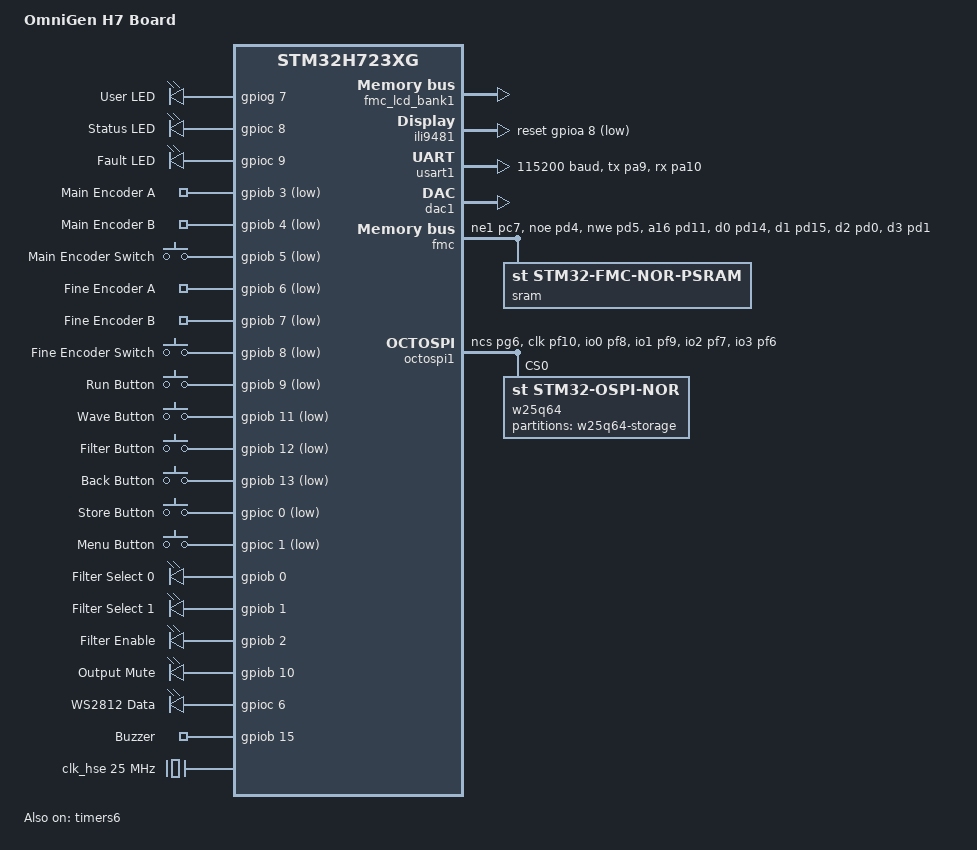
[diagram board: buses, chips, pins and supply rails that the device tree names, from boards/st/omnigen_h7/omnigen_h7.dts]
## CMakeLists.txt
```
cmake_minimum_required(VERSION 3.20.0)
find_package(Zephyr REQUIRED HINTS $ENV{ZEPHYR_BASE})
project(omnigen_h7_app)

target_include_directories(app PRIVATE src drivers/include third_party/lvgl/demos)

set(LV_BUILD_CONF_PATH ${CMAKE_CURRENT_SOURCE_DIR}/src/platform/lv_conf.h CACHE PATH "" FORCE)
set(CONFIG_LV_BUILD_EXAMPLES n CACHE STRING "" FORCE)
set(CONFIG_LV_BUILD_DEMOS n CACHE STRING "" FORCE)
set(CONFIG_LV_USE_THORVG_INTERNAL n CACHE STRING "" FORCE)
set(CONFIG_LV_USE_PRIVATE_API n CACHE STRING "" FORCE)
add_subdirectory(third_party/lvgl EXCLUDE_FROM_ALL)
target_compile_options(lvgl PRIVATE -ffunction-sections -fdata-sections)
target_link_libraries(lvgl PUBLIC zephyr_interface)
target_link_libraries(app PRIVATE lvgl)

zephyr_linker_sources(SECTIONS src/platform/zephyr_dtcm_noinit.ld)

target_sources(app PRIVATE
    src/app/main.cpp
    src/app/composition_root.cpp
    src/domain/signal_validation.cpp
    src/domain/signal_command.cpp
    src/domain/input_event.cpp
    src/domain/system_status.cpp
    src/domain/waveform_synthesis.cpp
    src/ports/command_bus_port.cpp
    src/services/direct_command_bus.cpp
    src/services/direct_request_bus.cpp
    src/services/signal_engine.cpp
    src/platform/mpu_manager.cpp
    src/platform/zephyr_display.cpp
    src/platform/zephyr_storage.cpp
    src/platform/zephyr_filter_switch.cpp
    src/platform/zephyr_wave_sink.cpp
    src/platform/lvgl_port.cpp
    third_party/lvgl/demos/stress/lv_demo_stress.c
    src/diagnostics/shell_commands.cpp
    src/diagnostics/sysres_shell_commands.cpp
    src/diagnostics/nor_shell_commands.cpp
    src/diagnostics/display_shell_commands.cpp
    drivers/output/dac_wave_sink.c
    drivers/output/ili9481_support.c
    drivers/storage/w25q64_support.c
)
```

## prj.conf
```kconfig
CONFIG_LOG=y
CONFIG_SHELL=y
CONFIG_CPP=y
CONFIG_MEMC=y

# DMA and UART async
CONFIG_DMA=y
CONFIG_UART_ASYNC_API=y

# Enable kernel features needed by async UART
CONFIG_TIMESLICING=y

# DAC and timer counter support for TIM6-triggered waveform output
CONFIG_DAC=y
CONFIG_GPIO=y

# External OSPI NOR flash
CONFIG_FLASH=y
CONFIG_FLASH_MAP=y
CONFIG_FLASH_JESD216_API=y
CONFIG_FLASH_STM32_OSPI=y

# Runtime resource statistics for shell diagnostics
CONFIG_THREAD_MONITOR=y
CONFIG_THREAD_RUNTIME_STATS=y
CONFIG_SCHED_THREAD_USAGE=y
CONFIG_SCHED_THREAD_USAGE_ALL=y
CONFIG_CPU_LOAD=y
CONFIG_CPU_LOAD_LOG_PERIODICALLY=0
CONFIG_SYS_HEAP_RUNTIME_STATS=y
CONFIG_HEAP_MEM_POOL_SIZE=16384

# Keep Zephyr service stacks small; LVGL has its own SRAM-resident stack.
CONFIG_MAIN_STACK_SIZE=2048
CONFIG_SYSTEM_WORKQUEUE_STACK_SIZE=2048
CONFIG_SHELL_STACK_SIZE=3072
CONFIG_ISR_STACK_SIZE=2048
```

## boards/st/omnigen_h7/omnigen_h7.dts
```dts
/*
 * SPDX-FileCopyrightText: Copyright The Zephyr Project Contributors
 * SPDX-License-Identifier: Apache-2.0
 *
 * ============================================================================
 * 设备树 (Device Tree) 编写规则详解
 * ============================================================================
 *
 * 一、基本结构
 * ----------------------------------------------------------------------------
 * 设备树是一个分层的数据结构，用于描述硬件配置。它由节点 (node) 和属性 (property)
 * 组成，形成树状结构。
 *
 * 1. 根节点: 用 "/" 表示，包含所有其他节点
 * 2. 节点标签 (label): 用于引用节点，如 &usart1
 * 3. 节点路径: 如 /soc/serial@40011000
 * 4. 属性: 键值对，如 status = "okay";
 *
 * 二、节点定义语法
 * ----------------------------------------------------------------------------
 *
 * [标签:] 节点名[@单元地址] {
 *     属性名 = <值>;
 *     属性名 = "字符串值";
 *     属性名 = <值1 值2 值3>;  // 数组
 *     子节点 {...};
 * };
 *
 * 示例:
 *   usart1: serial@40011000 {
 *       compatible = "st,stm32-usart";
 *       reg = <0x40011000 0x400>;
 *       status = "okay";
 *   };
 *
 * 解释:
 *   - usart1: 节点标签，可通过 &usart1 引用
 *   - serial: 节点名称，描述设备类型
 *   - @40011000: 单元地址，设备的基地址
 *   - compatible: 兼容性字符串，用于匹配驱动
 *   - reg: 寄存器地址和大小
 *   - status: 状态，"okay" 表示启用，"disabled" 表示禁用
 *
 * 三、常用属性类型
 * ----------------------------------------------------------------------------
 *
 * 1. 字符串:     compatible = "vendor,device";
 * 2. 整数:       clock-frequency = <25000000>;
 * 3. 整数数组:   reg = <0x40011000 0x400>;
 * 4. 引用:       clocks = <&rcc>;
 * 5. 引用数组:   pinctrl-0 = <&usart1_tx &usart1_rx>;
 * 6. 布尔:       status = "okay";  // 或 "disabled"
 * 7. 混合数组:   gpios = <&gpiog 7 GPIO_ACTIVE_HIGH>;
 *
 * 四、特殊属性
 * ----------------------------------------------------------------------------
 *
 * 1. compatible: 驱动匹配字符串，格式为 "vendor,device"
 *    - 驱动程序通过此属性找到对应的设备
 *    - 可以有多个值，按优先级排序
 *    示例: compatible = "st,stm32-usart", "st,stm32-uart";
 *
 * 2. reg: 寄存器区域，格式为 <地址 大小>
 *    - 可有多个区域: reg = <0x40011000 0x400>, <0x40012000 0x100>;
 *
 * 3. interrupts: 中断配置
 *    - 格式取决于中断控制器
 *    示例: interrupts = <37 0>;  // 中断号, 触发方式
 *
 * 4. clocks: 时钟源配置
 *    - 引用时钟提供者
 *    示例: clocks = <&rcc STM32_CLOCK(APB2, 4)>;
 *
 * 5. status: 设备状态
 *    - "okay": 设备已启用
 *    - "disabled": 设备已禁用（默认值）
 *    - "reserved": 设备保留，不可使用
 *
 * 6. pinctrl-X: 引脚控制配置
 *    - X 从 0 开始编号
 *    - 引用 pinctrl 节点定义的引脚配置
 *
 * 五、节点追加和覆盖
 * ----------------------------------------------------------------------------
 *
 * 在板级 DTS 中，通常覆盖或追加 SoC DTSI 中定义的节点:
 *
 * &usart1 {
 *     pinctrl-0 = <&usart1_tx_pa9 &usart1_rx_pa10>;
 *     pinctrl-names = "default";
 *     current-speed = <115200>;
 *     status = "okay";  // 启用设备
 * };
 *
 * 注意:
 *   - 使用 & 引用节点标签
 *   - 只需定义需要覆盖或添加的属性
 *   - status = "okay" 启用设备
 *
 * 六、chosen 节点
 * ----------------------------------------------------------------------------
 *
 * chosen 节点用于系统级配置，告诉 Zephyr 使用哪些设备:
 *
 * chosen {
 *     zephyr,console = &usart1;      // 控制台 UART
 *     zephyr,shell-uart = &usart1;   // Shell UART
 *     zephyr,sram = &sram0;          // SRAM 区域
 *     zephyr,flash = &flash0;        // Flash 区域
 * };
 *
 * 七、aliases 节点
 * ----------------------------------------------------------------------------
 *
 * aliases 用于创建设备别名，简化设备获取:
 *
 * aliases {
 *     led0 = &user_led;    // 别名 led0 指向 user_led 节点
 *     uart0 = &usart1;     // 别名 uart0 指向 usart1 节点
 * };
 *
 * 在代码中使用:
 *   DEVICE_DT_GET(DT_ALIAS(led0));  // 获取 led0 设备
 *
 * 八、pinctrl 配置
 * ----------------------------------------------------------------------------
 *
 * pinctrl 定义引脚复用配置:
 *
 * usart1_tx_pa9: usart1_tx_pa9 {
 *     pinmux = <STM32_PINMUX('A', 9, AF7)>;  // PA9, 复用功能 7
 *     bias-pull-up;                          // 上拉
 * };
 *
 * usart1_rx_pa10: usart1_rx_pa10 {
 *     pinmux = <STM32_PINMUX('A', 10, AF7)>; // PA10, 复用功能 7
 * };
 *
 * 常用引脚属性:
 *   - bias-pull-up:     上拉电阻
 *   - bias-pull-down:   下拉电阻
 *   - bias-disable:     禁用偏置
 *   - drive-push-pull:  推挽输出
 *   - drive-open-drain: 开漏输出
 *   - slew-rate:        压摆率
 *
 * 九、DMA 配置
 * ----------------------------------------------------------------------------
 *
 * dmas 属性定义 DMA 通道:
 *
 * dmas = <&dmamux1 10 45 STM32_DMA_PERIPH_TX>,   // TX DMA
 *        <&dmamux1 11 46 STM32_DMA_PERIPH_RX>;   // RX DMA
 * dma-names = "tx", "rx";
 *
 * 参数解释:
 *   - &dmamux1: DMA MUX 控制器引用
 *   - 10: DMA 请求号 (通道选择)
 *   - 45: DMA 请求 ID (外设请求)
 *   - STM32_DMA_PERIPH_TX: 传输方向
 *
 * 十、时钟配置
 * ----------------------------------------------------------------------------
 *
 * STM32H7 时钟树配置:
 *
 * &pll {
 *     div-m = <2>;      // 输入分频
 *     mul-n = <44>;     // VCO 倍频
 *     div-p = <1>;      // P 输出分频 (SYSCLK)
 *     clocks = <&clk_hse>;  // 时钟源
 *     status = "okay";
 * };
 *
 * &rcc {
 *     clocks = <&pll>;              // 系统时钟源
 *     clock-frequency = <DT_FREQ_M(550)>;  // 系统时钟频率
 *     d1cpre = <1>;    // D1 域 CPU 时钟分频
 *     hpre = <2>;      // AHB 总线分频
 *     d1ppre = <2>;    // APB3 分频
 *     d2ppre1 = <2>;   // APB1 分频 (USART3 所在)
 *     d2ppre2 = <2>;   // APB2 分频 (USART1 所在)
 *     d3ppre = <2>;    // APB4 分频
 * };
 *
 * ============================================================================
 */

/dts-v1/;

/*
 * 包含 SoC 基础定义
 * 这些文件定义了 SoC 的所有外设节点，默认 status = "disabled"
 */
#include <st/h7/stm32h723Xg.dtsi>           /* STM32H723ZG SoC 定义 */
#include <st/h7/stm32h723zgtx-pinctrl.dtsi> /* 引脚复用定义 */
#include <zephyr/dt-bindings/dma/stm32_dma.h>  /* DMA 宏定义 */
#include <zephyr/dt-bindings/gpio/gpio.h>
#include <zephyr/dt-bindings/memory-attr/memory-attr-arm.h>
#include <zephyr/dt-bindings/memory-controller/stm32-fmc-nor-psram.h>

/ {
    /*
     * 板级模型和兼容性
     * model: 板子名称，用于日志和识别
     * compatible: 格式为 "vendor,board"，用于匹配板级配置
     */
    model = "OmniGen H7 Board";
    compatible = "mekcraft,omnigen-h7";

    /*
     * chosen 节点: 系统级配置
     * 告诉 Zephyr 使用哪些设备作为系统资源
     */
    chosen {
        zephyr,console = &usart1;      /* 控制台输出设备 */
        zephyr,shell-uart = &usart1;   /* Shell 交互设备 */
        zephyr,sram = &sram0;          /* 主 SRAM 区域 */
        zephyr,dtcm = &dtcm;           /* CPU-only DTCM for non-DMA stacks */
        zephyr,flash = &flash0;        /* 主 Flash 区域 */
    };

    /*
     * FMC Bank1 region for 8080 LCD memory-mapped access.
     * ATTR_MPU_IO maps to Device-like attributes on Cortex-M7.
     */
    fmc_lcd_bank1: memory@60000000 {
        compatible = "zephyr,memory-region";
        reg = <0x60000000 DT_SIZE_M(256)>;
        zephyr,memory-region = "FMC_LCD_BANK1";
        zephyr,memory-attr = <DT_MEM_ARM(ATTR_MPU_IO)>;
    };

    ili9481: lcd@60000000 {
        compatible = "zephyr,ili9481-fmc";
        memory-region = <&fmc_lcd_bank1>;
        register-select-pin = <16>;
        reset-gpios = <&gpioa 8 GPIO_ACTIVE_LOW>;
        width = <480>;
        height = <320>;
        status = "okay";
    };

    /*
     * LEDs 节点: GPIO LED 定义
     * compatible = "gpio-leds" 匹配 GPIO LED 驱动
     */
    leds {
        compatible = "gpio-leds";

        /*
         * LED 子节点
         * 格式: 标签: 节点名 {
         *     gpios = <&gpio控制器 引脚号 标志>;
         *     label = "用户可见名称";
         * }
         */
        user_led: led_0 {
            gpios = <&gpiog 7 GPIO_ACTIVE_HIGH>;  /* PG7, 高电平点亮 */
            label = "User LED";
        };

        status_led: led_status {
            gpios = <&gpioc 8 GPIO_ACTIVE_HIGH>;
            label = "Status LED";
        };

        fault_led: led_fault {
            gpios = <&gpioc 9 GPIO_ACTIVE_HIGH>;
            label = "Fault LED";
        };
    };

    gpio_keys {
        compatible = "gpio-keys";

        enc_main_a: enc_main_a {
            gpios = <&gpiob 3 (GPIO_ACTIVE_LOW | GPIO_PULL_UP)>;
            label = "Main Encoder A";
        };

        enc_main_b: enc_main_b {
            gpios = <&gpiob 4 (GPIO_ACTIVE_LOW | GPIO_PULL_UP)>;
            label = "Main Encoder B";
        };

        enc_main_sw: enc_main_sw {
            gpios = <&gpiob 5 (GPIO_ACTIVE_LOW | GPIO_PULL_UP)>;
            label = "Main Encoder Switch";
        };

        enc_fine_a: enc_fine_a {
            gpios = <&gpiob 6 (GPIO_ACTIVE_LOW | GPIO_PULL_UP)>;
            label = "Fine Encoder A";
        };

        enc_fine_b: enc_fine_b {
            gpios = <&gpiob 7 (GPIO_ACTIVE_LOW | GPIO_PULL_UP)>;
            label = "Fine Encoder B";
        };

        enc_fine_sw: enc_fine_sw {
            gpios = <&gpiob 8 (GPIO_ACTIVE_LOW | GPIO_PULL_UP)>;
            label = "Fine Encoder Switch";
        };

        btn_run: btn_run {
            gpios = <&gpiob 9 (GPIO_ACTIVE_LOW | GPIO_PULL_UP)>;
            label = "Run Button";
        };

        btn_wave: btn_wave {
            gpios = <&gpiob 11 (GPIO_ACTIVE_LOW | GPIO_PULL_UP)>;
            label = "Wave Button";
        };

        btn_filter: btn_filter {
            gpios = <&gpiob 12 (GPIO_ACTIVE_LOW | GPIO_PULL_UP)>;
            label = "Filter Button";
        };

        btn_back: btn_back {
            gpios = <&gpiob 13 (GPIO_ACTIVE_LOW | GPIO_PULL_UP)>;
            label = "Back Button";
        };

        btn_store: btn_store {
            gpios = <&gpioc 0 (GPIO_ACTIVE_LOW | GPIO_PULL_UP)>;
            label = "Store Button";
        };

        btn_menu: btn_menu {
            gpios = <&gpioc 1 (GPIO_ACTIVE_LOW | GPIO_PULL_UP)>;
            label = "Menu Button";
        };
    };

    filter_switch: filter_switch {
        compatible = "gpio-leds";

        filter_sel0: filter_sel0 {
            gpios = <&gpiob 0 GPIO_ACTIVE_HIGH>;
            label = "Filter Select 0";
        };

        filter_sel1: filter_sel1 {
            gpios = <&gpiob 1 GPIO_ACTIVE_HIGH>;
            label = "Filter Select 1";
        };

        filter_en: filter_en {
            gpios = <&gpiob 2 GPIO_ACTIVE_HIGH>;
            label = "Filter Enable";
        };

        output_mute: output_mute {
            gpios = <&gpiob 10 GPIO_ACTIVE_HIGH>;
            label = "Output Mute";
        };
    };

    auxiliary_outputs {
        compatible = "gpio-leds";

        ws2812_data: ws2812_data {
            gpios = <&gpioc 6 GPIO_ACTIVE_HIGH>;
            label = "WS2812 Data";
        };

        buzzer: buzzer {
            gpios = <&gpiob 15 GPIO_ACTIVE_HIGH>;
            label = "Buzzer";
        };
    };

    dac_wave_sink: dac-wave-sink {
        compatible = "mekcraft,dac-wave-sink";
        dac = <&dac1>;
        timer = <&timers6>;
        dma = <&dma1>;
        sample-buffer-size = <256>;
        sample-rate-hz = <10000>;
        status = "okay";
    };

    /*
     * aliases 节点: 设备别名
     * 简化设备获取，使用 DT_ALIAS(alias_name) 宏
     */
    aliases {
        led0 = &user_led;  /* led0 别名指向 user_led */
        led1 = &status_led;
        led2 = &fault_led;
        sw0 = &btn_run;
        sw1 = &btn_wave;
        sw2 = &btn_filter;
        sw3 = &btn_back;
        sw4 = &btn_store;
        sw5 = &btn_menu;
        enc-main-a = &enc_main_a;
        enc-main-b = &enc_main_b;
        enc-main-sw = &enc_main_sw;
        enc-fine-a = &enc_fine_a;
        enc-fine-b = &enc_fine_b;
        enc-fine-sw = &enc_fine_sw;
        filter-sel0 = &filter_sel0;
        filter-sel1 = &filter_sel1;
        filter-en = &filter_en;
        output-mute = &output_mute;
        ws2812-data = &ws2812_data;
        buzzer = &buzzer;
    };
};

/*
 * DMA1 控制器配置
 * status = "okay" 启用 DMA1
 */
&dma1 {
    status = "okay";
};

/*
 * DMA MUX1 配置
 * DMA MUX 用于将 DMA 请求路由到正确的 DMA 通道
 */
&dmamux1 {
    status = "okay";
};

/*
 * USART1 配置
 * USART1 挂载在 APB2 总线上
 * 引脚: PA9 (TX), PA10 (RX)
 */
&usart1 {
    /*
     * pinctrl-X: 引脚控制配置
     * X 从 0 开始，可以有多个配置 (如 default, sleep)
     * 这里引用 pinctrl.dtsi 中定义的引脚配置
     */
    pinctrl-0 = <&usart1_tx_pa9 &usart1_rx_pa10>;
    pinctrl-names = "default";  /* 配置名称 */

    /*
     * current-speed: 波特率
     * 驱动初始化时会设置此波特率
     */
    current-speed = <115200>;

    /*
     * status: 启用设备
     * SoC dtsi 中默认为 "disabled"，这里覆盖为 "okay"
     */
    status = "okay";

    /*
     * DMA 配置 (可选)
     * 如果需要 DMA 支持，取消注释以下配置
     * DMA 请求 ID 需要查阅 STM32H7 参考手册
     */
    /* dmas = <&dmamux1 0 40 STM32_DMA_PERIPH_TX>, */
    /*        <&dmamux1 1 41 STM32_DMA_PERIPH_RX>; */
    /* dma-names = "tx", "rx"; */
};

/*
 * LSE (低速外部晶振) 配置
 * 通常用于 RTC
 */
&clk_lse {
    status = "okay";
};

/*
 * HSE (高速外部晶振) 配置
 * 这是系统主时钟源
 */
&clk_hse {
    clock-frequency = <DT_FREQ_M(25)>;  /* 25 MHz 晶振 */
    status = "okay";
};

/*
 * PLL1 配置 (系统主 PLL)
 *
 * STM32H7 PLL 计算:
 *   PLL输入 = HSE / DIVM = 25 MHz / 2 = 12.5 MHz
 *   VCO频率 = PLL输入 × DIVN = 12.5 MHz × 44 = 550 MHz
 *   SYSCLK = VCO / DIVP = 550 MHz / 1 = 550 MHz
 *
 * 注意: VCO 必须在 192-960 MHz 范围内
 */
&pll {
    div-m = <2>;   /* 输入分频: HSE/2 = 12.5 MHz */
    mul-n = <44>;  /* VCO 倍频: 12.5 × 44 = 550 MHz */
    div-p = <1>;   /* SYSCLK 分频: 550/1 = 550 MHz */
    div-q = <2>;   /* Q 输出 (可选用途) */
    div-r = <2>;   /* R 输出 (可选用途) */
    clocks = <&clk_hse>;  /* 时钟源: HSE */
    status = "okay";
};

/*
 * PWR (电源) 配置
 * power-supply: 电压调节器类型
 *   - "ldo": 使用内部 LDO
 *   - "smps": 使用 SMPS
 */
&pwr {
    power-supply = "ldo";
};

/*
 * RCC (复位和时钟控制) 配置
 *
 * STM32H7 时钟树:
 *   SYSCLK (550 MHz)
 *     └─ D1CPRE (/1) → CPU 时钟 (550 MHz)
 *     └─ HPRE (/2) → HCLK (275 MHz) [AHB/内存/DMA]
 *        ├─ D1PPRE (/2) → APB3 (137.5 MHz)
 *        ├─ D2PPRE1 (/2) → APB1 (137.5 MHz) [USART2/3, UART4/5...]
 *        ├─ D2PPRE2 (/2) → APB2 (137.5 MHz) [USART1/6, SPI1...]
 *        └─ D3PPRE (/2) → APB4 (137.5 MHz)
 *
 * USART1 挂载在 APB2 上，时钟 = 137.5 MHz
 */
&rcc {
    clocks = <&pll>;                    /* 系统时钟源: PLL */
    clock-frequency = <DT_FREQ_M(550)>; /* SYSCLK 频率 */

    d1cpre = <1>;    /* D1 域 CPU 时钟分频 */
    hpre = <2>;      /* AHB 总线分频 */
    d1ppre = <2>;    /* APB3 分频 */
    d2ppre1 = <2>;   /* APB1 分频 */
    d2ppre2 = <2>;   /* APB2 分频 (USART1) */
    d3ppre = <2>;    /* APB4 分频 */
};

/*
 * DAC1 配置
 * DAC1 通道 1 输出引脚: PA4
 * 用于信号输出
 * 注意: DAC 引脚需要手动配置 GPIO
 */
&dac1 {
    status = "okay";
};

/*
 * TIM6 配置
 * TIM6 用于触发 DAC 输出
 * 基本定时器，无 GPIO 引脚
 */
&timers6 {
    status = "okay";
};

&fmc {
    pinctrl-0 = <&fmc_ne1_pc7 &fmc_noe_pd4 &fmc_nwe_pd5
                 &fmc_a16_pd11
                 &fmc_d0_pd14 &fmc_d1_pd15 &fmc_d2_pd0 &fmc_d3_pd1
                 &fmc_d4_pe7 &fmc_d5_pe8 &fmc_d6_pe9 &fmc_d7_pe10
                 &fmc_d8_pe11 &fmc_d9_pe12 &fmc_d10_pe13 &fmc_d11_pe14
                 &fmc_d12_pe15 &fmc_d13_pd8 &fmc_d14_pd9 &fmc_d15_pd10>;
    pinctrl-names = "default";
    status = "okay";

    sram {
        compatible = "st,stm32-fmc-nor-psram";
        status = "okay";

        #address-cells = <1>;
        #size-cells = <0>;

        bank@0 {
            reg = <STM32_FMC_NORSRAM_BANK1>;
            st,control = <STM32_FMC_DATA_ADDRESS_MUX_DISABLE
                          STM32_FMC_MEMORY_TYPE_SRAM
                          STM32_FMC_NORSRAM_MEM_BUS_WIDTH_16
                          STM32_FMC_BURST_ACCESS_MODE_DISABLE
                          STM32_FMC_WAIT_SIGNAL_POLARITY_LOW
                          STM32_FMC_WAIT_TIMING_BEFORE_WS
                          STM32_FMC_WRITE_OPERATION_ENABLE
                          STM32_FMC_WAIT_SIGNAL_DISABLE
                          STM32_FMC_EXTENDED_MODE_DISABLE
                          STM32_FMC_ASYNCHRONOUS_WAIT_DISABLE
                          STM32_FMC_WRITE_BURST_DISABLE
                          STM32_FMC_CONTINUOUS_CLOCK_SYNC_ONLY
                          STM32_FMC_WRITE_FIFO_ENABLE
                          STM32_FMC_PAGE_SIZE_NONE>;
            /*
             * Conservative ILI9481 8080 timing: about 5 MHz WR strobe with
             * margin for both WR high and low pulse width requirements.
             */
            st,timing = <15 1 38 0 2 2 STM32_FMC_ACCESS_MODE_A>;
        };
    };
};

&octospi1 {
    pinctrl-0 = <&octospim_p1_ncs_pg6 &octospim_p1_clk_pf10
                 &octospim_p1_io0_pf8 &octospim_p1_io1_pf9
                 &octospim_p1_io2_pf7 &octospim_p1_io3_pf6>;
    pinctrl-names = "default";
    status = "okay";

    w25q64: qspi-nor-flash@0 {
        compatible = "st,stm32-ospi-nor";
        reg = <0 DT_SIZE_M(8)>; /* 64 Mbits */
        ospi-max-frequency = <DT_FREQ_M(80)>;
        spi-bus-width = <OSPI_QUAD_MODE>;
        data-rate = <OSPI_STR_TRANSFER>;
        writeoc = "PP_1_1_4";
        size = <DT_SIZE_M(64)>;
        status = "okay";

        partitions {
            compatible = "fixed-partitions";
            #address-cells = <1>;
            #size-cells = <1>;

            w25q64_storage: partition@0 {
                label = "w25q64-storage";
                reg = <0x00000000 DT_SIZE_M(8)>;
            };
        };
    };
};
```

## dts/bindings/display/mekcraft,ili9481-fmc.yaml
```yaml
# Copyright (c) 2026 MekCraftLi
# SPDX-License-Identifier: Apache-2.0

description: ILI9481 panel on STM32 FMC 8080 16-bit mapped bus

compatible: "zephyr,ili9481-fmc"

include: base.yaml

properties:
  memory-region:
    type: phandle
    required: true
    description: Phandle to memory@60000000 style mapped FMC region.

  register-select-pin:
    type: int
    required: true
    description: |
      FMC address line index used as 8080 RS/DCX selector.
      Data address offset is computed as (1 << (index + 1)).

  reset-gpios:
    type: phandle-array
    required: false
    description: Optional panel reset GPIO.

  width:
    type: int
    required: false
    default: 320
    description: Logical panel width in pixels.

  height:
    type: int
    required: false
    default: 480
    description: Logical panel height in pixels.
```

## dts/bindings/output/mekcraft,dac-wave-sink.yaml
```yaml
# Copyright (c) 2025 MekCraftLi
# SPDX-License-Identifier: Apache-2.0

description: DAC wave output sink using TIM trigger and DMA

compatible: "mekcraft,dac-wave-sink"

include: base.yaml

properties:
  dac:
    type: phandle
    required: true
    description: DAC device to use for output

  timer:
    type: phandle
    required: true
    description: Timer to trigger DAC conversions

  dma:
    type: phandle
    required: true
    description: DMA channel for DAC data transfer

  sample-buffer-size:
    type: int
    default: 256
    description: Number of samples in DMA buffer

  sample-rate-hz:
    type: int
    default: 10000
    description: Default sample rate in Hz
```

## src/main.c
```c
#include <zephyr/kernel.h>
#include <zephyr/drivers/gpio.h>
#include <zephyr/logging/log.h>

LOG_MODULE_REGISTER(main, LOG_LEVEL_INF);

#define SLEEP_TIME_MS 1000
#define LED0_NODE DT_ALIAS(led0)

static const struct gpio_dt_spec led = GPIO_DT_SPEC_GET(LED0_NODE, gpios);

int main(void) {
  if (!gpio_is_ready_dt(&led)) {
    LOG_ERR("LED device not ready");
    return 0;
  }

  int ret = gpio_pin_configure_dt(&led, GPIO_OUTPUT_ACTIVE);
  if (ret < 0) {
    LOG_ERR("Failed to configure LED pin (err %d)", ret);
    return 0;
  }

  LOG_INF("OmniGen H7 LED blinky started");

  while(1) {
    gpio_pin_toggle_dt(&led);
    k_msleep(SLEEP_TIME_MS);
  }

  return 0;
}
```
